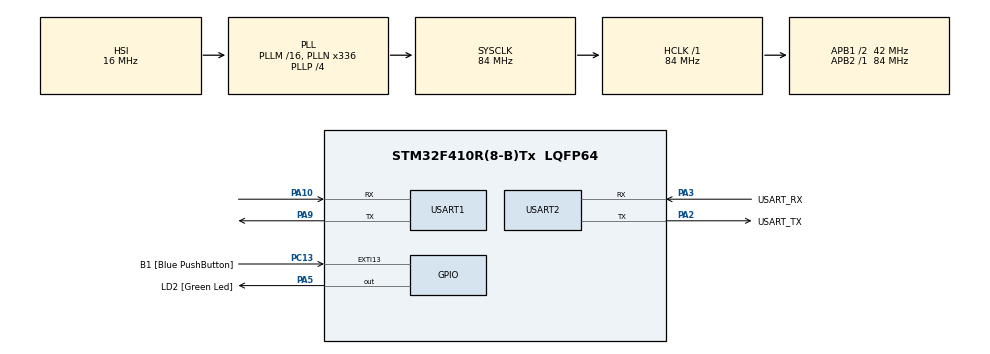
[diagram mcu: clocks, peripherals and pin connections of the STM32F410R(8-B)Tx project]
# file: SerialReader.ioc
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Dma.Request0=USART1_RX
Dma.Request1=USART2_RX
Dma.USART1_RX.0.Direction=DMA_PERIPH_TO_MEMORY
Dma.USART1_RX.0.FIFOMode=DMA_FIFOMODE_DISABLE
Dma.USART1_RX.0.Instance=DMA2_Stream2
Dma.USART1_RX.0.MemDataAlignment=DMA_MDATAALIGN_BYTE
Dma.USART1_RX.0.MemInc=DMA_MINC_ENABLE
Dma.USART1_RX.0.Mode=DMA_CIRCULAR
Dma.USART1_RX.0.PeriphDataAlignment=DMA_PDATAALIGN_BYTE
Dma.USART1_RX.0.PeriphInc=DMA_PINC_DISABLE
Dma.USART1_RX.0.Priority=DMA_PRIORITY_MEDIUM
Dma.USART2_RX.1.Direction=DMA_PERIPH_TO_MEMORY
Dma.USART2_RX.1.FIFOMode=DMA_FIFOMODE_DISABLE
Dma.USART2_RX.1.Instance=DMA1_Stream5
Dma.USART2_RX.1.MemDataAlignment=DMA_MDATAALIGN_BYTE
Dma.USART2_RX.1.MemInc=DMA_MINC_ENABLE
Dma.USART2_RX.1.Mode=DMA_CIRCULAR
Dma.USART2_RX.1.PeriphDataAlignment=DMA_PDATAALIGN_BYTE
Dma.USART2_RX.1.PeriphInc=DMA_PINC_DISABLE
Dma.USART2_RX.1.Priority=DMA_PRIORITY_LOW
Mcu.Family=STM32F4
Mcu.Name=STM32F410R(8-B)Tx
Mcu.Package=LQFP64
NVIC.DMA1_Stream5_IRQn=true\:0\:0\:false\:false\:true\:false\:true\:true
NVIC.DMA2_Stream2_IRQn=true\:0\:0\:false\:false\:true\:false\:true\:true
NVIC.PriorityGroup=NVIC_PRIORITYGROUP_0
NVIC.USART1_IRQn=true\:0\:0\:false\:false\:true\:true\:true\:true
PA10.Mode=Asynchronous
PA10.Signal=USART1_RX
PA13.GPIO_Label=TMS
PA13.Mode=Serial_Wire
PA13.Signal=SYS_JTMS-SWDIO
PA14.GPIO_Label=TCK
PA14.Mode=Serial_Wire
PA14.Signal=SYS_JTCK-SWCLK
PA2.GPIO_Label=USART_TX
PA2.Mode=Asynchronous
PA2.Signal=USART2_TX
PA3.GPIO_Label=USART_RX
PA3.Mode=Asynchronous
PA3.Signal=USART2_RX
PA5.GPIO_Label=LD2 [Green Led]
PA5.Signal=GPIO_Output
PA9.Mode=Asynchronous
PA9.Signal=USART1_TX
PB3.GPIO_Label=SWO
PB3.Signal=SYS_JTDO-SWO
PC13-ANTI_TAMP.GPIO_Label=B1 [Blue PushButton]
PC13-ANTI_TAMP.GPIO_ModeDefaultEXTI=GPIO_MODE_IT_FALLING
PC13-ANTI_TAMP.Signal=GPXTI13
PC14-OSC32_IN.Mode=LSE-External-Oscillator
PC14-OSC32_IN.Signal=RCC_OSC32_IN
PC15-OSC32_OUT.Mode=LSE-External-Oscillator
PC15-OSC32_OUT.Signal=RCC_OSC32_OUT
PH0\ -\ OSC_IN.Mode=HSE-External-Clock-Source
PH0\ -\ OSC_IN.Signal=RCC_OSC_IN
PH1\ -\ OSC_OUT.Mode=HSE-External-Clock-Source
PH1\ -\ OSC_OUT.Signal=RCC_OSC_OUT
ProjectManager.HeapSize=0x200
ProjectManager.StackSize=0x400
ProjectManager.TargetToolchain=STM32CubeIDE
RCC.48MHZClocksFreq_Value=84000000
RCC.AHBFreq_Value=84000000
RCC.APB1CLKDivider=RCC_HCLK_DIV2
RCC.APB1Freq_Value=42000000
RCC.APB1TimFreq_Value=84000000
RCC.APB2Freq_Value=84000000
RCC.APB2TimFreq_Value=84000000
RCC.CortexFreq_Value=84000000
RCC.FLatency-AdvancedSettings=FLASH_LATENCY_2
RCC.HCLKFreq_Value=84000000
RCC.HSE_VALUE=8000000
RCC.HSI_VALUE=16000000
RCC.PLLN=336
RCC.PLLP=RCC_PLLP_DIV4
RCC.SYSCLKFreq_VALUE=84000000
RCC.SYSCLKSource=RCC_SYSCLKSOURCE_PLLCLK
RCC.VCOOutputFreq_Value=336000000
USART1.VirtualMode=VM_ASYNC
USART2.VirtualMode=VM_ASYNC
board=NUCLEO-F410RB

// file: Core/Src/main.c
/* USER CODE BEGIN Header */
/**
  ******************************************************************************
  * @file           : main.c
  * @brief          : Serial Reader for Ares' LIDAR_Ares_v1_4
  ******************************************************************************
  * @attention
  *
  * Copyright (c) 2023 STMicroelectronics.
  * All rights reserved.
  *
  * This software is licensed under terms that can be found in the LICENSE file
  * in the root directory of this software component.
  * If no LICENSE file comes with this software, it is provided AS-IS.
  *
  ******************************************************************************
  */
/* USER CODE END Header */
#include "main.h"

/* USER CODE BEGIN Includes */
#include "stm32f4xx_hal_uart.h"
#include "lidarReading.h"
/* USER CODE END Includes */

/* USER CODE BEGIN PD */
//#define USE_HAL_UART_REGISTER_CALLBACKS 1
/* USER CODE END PD */

 UART_HandleTypeDef huart1;
UART_HandleTypeDef huart2;
DMA_HandleTypeDef hdma_usart1_rx;
DMA_HandleTypeDef hdma_usart2_rx;

void SystemClock_Config(void);
static void MX_GPIO_Init(void);
static void MX_DMA_Init(void);
static void MX_USART2_UART_Init(void);
static void MX_USART1_UART_Init(void);

int main(void)
{

  /* MCU Configuration--------------------------------------------------------*/

  /* Reset of all peripherals, Initializes the Flash interface and the Systick. */
  HAL_Init();

  /* Configure the system clock */
  SystemClock_Config();

  /* Initialize all configured peripherals */
  MX_GPIO_Init();
  MX_DMA_Init();
  MX_USART2_UART_Init();
  MX_USART1_UART_Init();
  /* USER CODE BEGIN 2 */
  //HAL_UART_Receive_DMA(&huart1, &lidarBuf[bufferIndex], 3);

  HAL_UART_Receive_DMA(&huart1, lidarBuf, 1);
  HAL_UART_Receive_DMA(&huart2, lidarBuf, 1);

  HAL_GPIO_TogglePin(LD2_GPIO_Port, LD2_Pin);
  HAL_Delay(100);
  HAL_GPIO_TogglePin(LD2_GPIO_Port, LD2_Pin);
  /* USER CODE END 2 */

  /* Infinite loop */
  /* USER CODE BEGIN WHILE */
  while (1)
  {

	  if(DataAcquiered)
		  //readFrame();
	HAL_Delay(5);

    /* USER CODE END WHILE */

  }
}

void SystemClock_Config(void)
{
  RCC_OscInitTypeDef RCC_OscInitStruct = {0};
  RCC_ClkInitTypeDef RCC_ClkInitStruct = {0};

  /** Configure the main internal regulator output voltage
  */
  __HAL_RCC_PWR_CLK_ENABLE();
  __HAL_PWR_VOLTAGESCALING_CONFIG(PWR_REGULATOR_VOLTAGE_SCALE1);

  /** Initializes the RCC Oscillators according to the specified parameters
  * in the RCC_OscInitTypeDef structure.
  */
  RCC_OscInitStruct.OscillatorType = RCC_OSCILLATORTYPE_HSI;
  RCC_OscInitStruct.HSIState = RCC_HSI_ON;
  RCC_OscInitStruct.HSICalibrationValue = RCC_HSICALIBRATION_DEFAULT;
  RCC_OscInitStruct.PLL.PLLState = RCC_PLL_ON;
  RCC_OscInitStruct.PLL.PLLSource = RCC_PLLSOURCE_HSI;
  RCC_OscInitStruct.PLL.PLLM = 16;
  RCC_OscInitStruct.PLL.PLLN = 336;
  RCC_OscInitStruct.PLL.PLLP = RCC_PLLP_DIV4;
  RCC_OscInitStruct.PLL.PLLQ = 4;
  RCC_OscInitStruct.PLL.PLLR = 2;
  if (HAL_RCC_OscConfig(&RCC_OscInitStruct) != HAL_OK)
  {
    Error_Handler();
  }

  /** Initializes the CPU, AHB and APB buses clocks
  */
  RCC_ClkInitStruct.ClockType = RCC_CLOCKTYPE_HCLK|RCC_CLOCKTYPE_SYSCLK
                              |RCC_CLOCKTYPE_PCLK1|RCC_CLOCKTYPE_PCLK2;
  RCC_ClkInitStruct.SYSCLKSource = RCC_SYSCLKSOURCE_PLLCLK;
  RCC_ClkInitStruct.AHBCLKDivider = RCC_SYSCLK_DIV1;
  RCC_ClkInitStruct.APB1CLKDivider = RCC_HCLK_DIV2;
  RCC_ClkInitStruct.APB2CLKDivider = RCC_HCLK_DIV1;

  if (HAL_RCC_ClockConfig(&RCC_ClkInitStruct, FLASH_LATENCY_2) != HAL_OK)
  {
    Error_Handler();
  }
}

static void MX_USART1_UART_Init(void)
{

  huart1.Instance = USART1;
  huart1.Init.BaudRate = 115200;
  huart1.Init.WordLength = UART_WORDLENGTH_8B;
  huart1.Init.StopBits = UART_STOPBITS_1;
  huart1.Init.Parity = UART_PARITY_NONE;
  huart1.Init.Mode = UART_MODE_TX_RX;
  huart1.Init.HwFlowCtl = UART_HWCONTROL_NONE;
  huart1.Init.OverSampling = UART_OVERSAMPLING_16;
  if (HAL_UART_Init(&huart1) != HAL_OK)
  {
    Error_Handler();
  }

}

static void MX_USART2_UART_Init(void)
{

  huart2.Instance = USART2;
  huart2.Init.BaudRate = 115200;
  huart2.Init.WordLength = UART_WORDLENGTH_8B;
  huart2.Init.StopBits = UART_STOPBITS_1;
  huart2.Init.Parity = UART_PARITY_NONE;
  huart2.Init.Mode = UART_MODE_TX_RX;
  huart2.Init.HwFlowCtl = UART_HWCONTROL_NONE;
  huart2.Init.OverSampling = UART_OVERSAMPLING_16;
  if (HAL_UART_Init(&huart2) != HAL_OK)
  {
    Error_Handler();
  }

}

static void MX_DMA_Init(void)
{

  /* DMA controller clock enable */
  __HAL_RCC_DMA2_CLK_ENABLE();
  __HAL_RCC_DMA1_CLK_ENABLE();

  /* DMA interrupt init */
  /* DMA1_Stream5_IRQn interrupt configuration */
  HAL_NVIC_SetPriority(DMA1_Stream5_IRQn, 0, 0);
  HAL_NVIC_EnableIRQ(DMA1_Stream5_IRQn);
  /* DMA2_Stream2_IRQn interrupt configuration */
  HAL_NVIC_SetPriority(DMA2_Stream2_IRQn, 0, 0);
  HAL_NVIC_EnableIRQ(DMA2_Stream2_IRQn);

}

static void MX_GPIO_Init(void)
{
  GPIO_InitTypeDef GPIO_InitStruct = {0};

  /* GPIO Ports Clock Enable */
  __HAL_RCC_GPIOC_CLK_ENABLE();
  __HAL_RCC_GPIOH_CLK_ENABLE();
  __HAL_RCC_GPIOA_CLK_ENABLE();
  __HAL_RCC_GPIOB_CLK_ENABLE();

  /*Configure GPIO pin Output Level */
  HAL_GPIO_WritePin(LD2_GPIO_Port, LD2_Pin, GPIO_PIN_RESET);

  /*Configure GPIO pin : B1_Pin */
  GPIO_InitStruct.Pin = B1_Pin;
  GPIO_InitStruct.Mode = GPIO_MODE_IT_FALLING;
  GPIO_InitStruct.Pull = GPIO_NOPULL;
  HAL_GPIO_Init(B1_GPIO_Port, &GPIO_InitStruct);

  /*Configure GPIO pin : LD2_Pin */
  GPIO_InitStruct.Pin = LD2_Pin;
  GPIO_InitStruct.Mode = GPIO_MODE_OUTPUT_PP;
  GPIO_InitStruct.Pull = GPIO_NOPULL;
  GPIO_InitStruct.Speed = GPIO_SPEED_FREQ_LOW;
  HAL_GPIO_Init(LD2_GPIO_Port, &GPIO_InitStruct);

}

/* USER CODE BEGIN 4 */

void HAL_UART_RxHalfCpltCallback(UART_HandleTypeDef *huart)
{
	DataAcquiered = 1;
	//bufferIndex += 3;
	HAL_GPIO_TogglePin(LD2_GPIO_Port, LD2_Pin);
}
void HAL_UART_RxCpltCallback(UART_HandleTypeDef *huart)
{
	//frameStatus();
    //HAL_UART_Receive_DMA(&huart1, &lidarBuf[bufferIndex], 3);
	if(huart->Instance == USART1){
		HAL_UART_Receive_DMA(&huart1, lidarBuf, 1);
		HAL_UART_Transmit(&huart2, lidarBuf, 1,1);
	}
	if(huart->Instance == USART2){
		HAL_UART_Receive_DMA(&huart2, lidarBuf, 1);
		HAL_UART_Transmit(&huart1, lidarBuf, 1,1);

	}

}
/* USER CODE END 4 */

void Error_Handler(void)
{
  __disable_irq();
  while (1)
  {
  }
}
